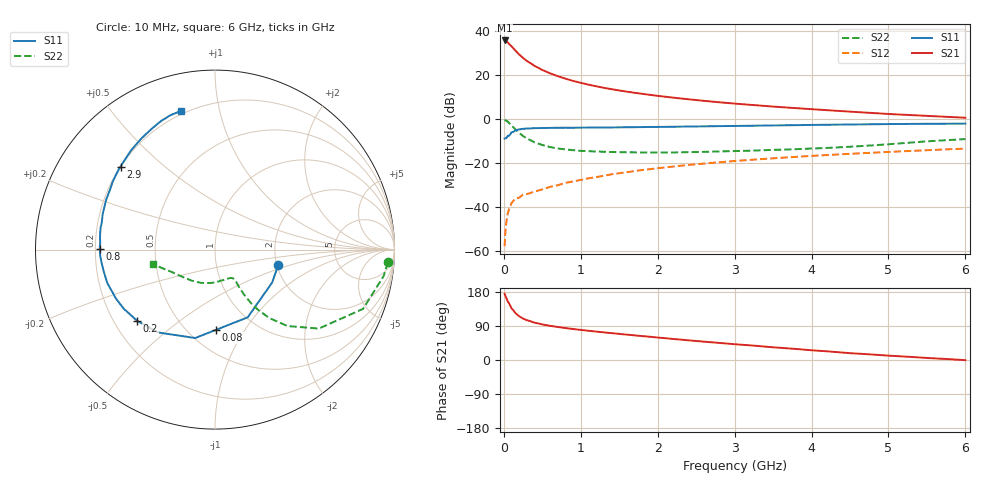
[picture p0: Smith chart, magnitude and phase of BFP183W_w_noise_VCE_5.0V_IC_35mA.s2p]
! (c) 2017  Infineon Technologies AG, Munich
! Infineon Technologies  Discrete & RF Semiconductors
! BFP183W
! VCE =  5.0 V,  IC =  35 mA
! Common Emitter S-Parameters:  Jan 2017
# GHz  S  MA  R  50
!  f  S11  S21  S12  S22
! GHz  MAG  ANG  MAG  ANG  MAG  ANG  MAG  ANG
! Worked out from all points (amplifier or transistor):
!   77 points, 10 MHz to 6 GHz, reference 50 ohm
!   highest |S21| = 35.8 dB at 10 MHz (marker M1)
!   |S21| within 3 dB of that: start of sweep to 109 MHz
!   unconditionally stable (mu >= 1): 870.4 MHz to 3.36 GHz
!   at 130 MHz: K = 0.33, MSG = 34.4 dB, |S12| = -36.8 dB
!   at 2.2 GHz: K = 1.06, MAG = 14.2 dB, |S12| = -21.5 dB
!   at 6 GHz: K = 0.86, MSG = 7.0 dB, |S12| = -13.3 dB
!   lowest NFmin = 1.51 dB at 450 MHz
!   S11 on the Smith chart (normalised r, x): 10 MHz: 2.03, -0.41; 80 MHz: 0.68, -0.75; 200 MHz: 0.30, -0.36; 800 MHz: 0.22, +0.00; 2.9 GHz: 0.20, +0.36; 6 GHz: 0.18, +0.77
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0.01  0.3629 -13.8  61.91 175.1  0.0013 84.4  0.9661 -4.2
0.02  0.3676 -29.9  60.93 169.3  0.0027 86.5  0.9512 -8.9
0.05  0.4191 -64.2  56.14 155.0  0.0071 71.3  0.8887 -21.8
0.08  0.4466 -89.1  49.16 144.7  0.0102 62.2  0.7843 -30.3
0.1  0.5048 -102.6  45.61 136.2  0.0124 58.7  0.7266 -37.3
0.15  0.5594 -124.4  36.43 123.9  0.0157 52.1  0.5874 -46.5
0.2  0.5878 -137.6  29.61 115.4  0.0165 50.5  0.488 -51.5
0.25  0.6056 -147.0  24.76 109.3  0.0193 47.2  0.4161 -54.3
0.3  0.6154 -153.6  21.13 105.0  0.0199 49.1  0.3647 -56.0
0.4  0.6281 -162.7  16.32 98.4  0.0226 52.0  0.2984 -57.1
0.5  0.6316 -168.7  13.2 93.9  0.0254 54.1  0.2594 -57.3
0.6  0.6363 -173.5  11.1 90.2  0.029 56.1  0.2336 -57.2
0.7  0.6407 -177.1  9.545 87.2  0.0316 57.8  0.2164 -56.7
0.8  0.6421 179.5  8.384 84.3  0.0358 60.1  0.2064 -56.9
1.1  0.6468 171.4  6.126 77.2  0.0454 62.6  0.188 -58.3
1.5  0.6557 162.9  4.511 68.9  0.0592 63.8  0.1785 -63.2
2.1  0.6716 151.4  3.252 57.5  0.0805 62.6  0.1758 -75.8
2.9  0.7007 138.7  2.35 43.4  0.1088 58.9  0.1871 -97.3
3.1  0.7072 135.7  2.199 40.2  0.1157 57.7  0.1908 -102.8
4.1  0.746 122.2  1.651 24.3  0.1501 51.6  0.219 -129.5
5.1  0.7791 111.8  1.292 10.4  0.1839 45.2  0.2784 -154.3
6  0.7953 103.9  1.082 -0.4  0.2154 38.8  0.354 -167.0
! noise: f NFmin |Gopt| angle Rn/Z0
0.45  1.51  0.29  -177  0.1
0.9  1.56  0.32  -176  0.1
1.9  2.05  0.47  -154  0.11
2.4  2.31  0.51  -151  0.16
